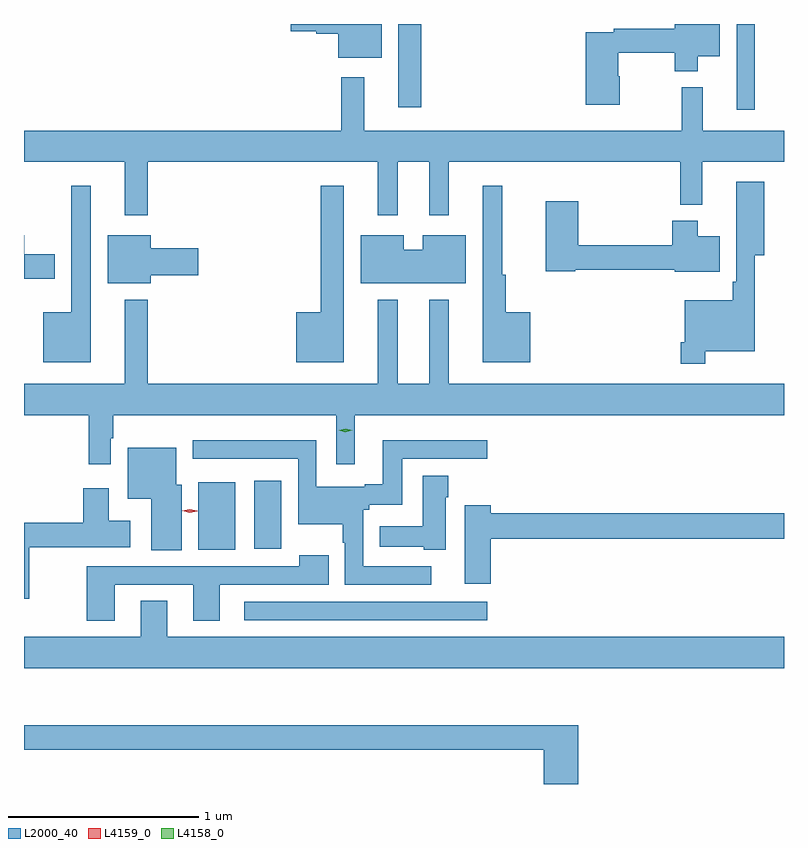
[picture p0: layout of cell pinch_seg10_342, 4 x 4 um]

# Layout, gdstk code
import gdstk
lib = gdstk.Library(unit=1e-6, precision=1e-09)
def R(c, l, rs):  # rectangles x0, y0, x1, y1
    for r in rs: c.add(gdstk.rectangle(r[:2], r[2:], *l))
def P(c, l, *ps):  # polygons
    for p in ps: c.add(gdstk.Polygon(p, *l))
L2000_40 = (2000, 40)
L4158_0 = (4158, 0)
L4159_0 = (4159, 0)

pinch_seg10_342 = lib.new_cell('pinch_seg10_342')
R(pinch_seg10_342, L2000_40, [(449.247,1251.285,450.526,1251.381), (449.006,1251.656,449.2,1252.009), (449.3,1251.66,449.443,1252.018), (451.839,1253.97,451.936,1254.422), (450.059,1253.985,450.181,1254.422)])
P(pinch_seg10_342, L2000_40, [(449.971,1254.422),(449.492,1254.422),(449.492,1254.383),(449.628,1254.383),(449.628,1254.371),(449.744,1254.371),(449.744,1254.245),(449.971,1254.245)],
  [(451.224,1254.147),(451.216,1254.147),(451.216,1254.27),(451.514,1254.27),(451.514,1254.173),(451.636,1254.173),(451.636,1254.251),(451.75,1254.251),(451.75,1254.422),(451.514,1254.422),(451.514,1254.398),(451.192,1254.398),(451.192,1254.378),(451.046,1254.378),(451.046,1253.997),(451.224,1253.997)],
  [(448.741,1253.696),(449.951,1253.696),(449.951,1253.415),(450.055,1253.415),(450.055,1253.696),(450.221,1253.696),(450.221,1253.415),(450.325,1253.415),(450.325,1253.696),(451.543,1253.696),(451.543,1253.471),(451.66,1253.471),(451.66,1253.696),(452.089,1253.696),(452.089,1253.86),(451.661,1253.86),(451.661,1254.088),(451.551,1254.088),(451.551,1253.86),(449.881,1253.86),(449.881,1254.142),(449.76,1254.142),(449.76,1253.86),(448.089,1253.86),(448.089,1253.696),(448.619,1253.696),(448.619,1253.415),(448.741,1253.415)],
  [(451.675,1252.7),(451.936,1252.7),(451.936,1253.204),(451.984,1253.204),(451.984,1253.593),(451.838,1253.593),(451.838,1253.065),(451.819,1253.065),(451.819,1252.969),(451.566,1252.969),(451.566,1252.747),(451.546,1252.747),(451.546,1252.635),(451.675,1252.635)],
  [(450.754,1252.906),(450.625,1252.906),(450.625,1253.102),(450.607,1253.102),(450.607,1253.572),(450.503,1253.572),(450.503,1252.643),(450.754,1252.643)],
  [(448.441,1253.572),(448.337,1253.572),(448.337,1252.906),(448.19,1252.906),(448.19,1252.643),(448.441,1252.643)],
  [(449.773,1253.572),(449.652,1253.572),(449.652,1252.906),(449.522,1252.906),(449.522,1252.643),(449.773,1252.643)],
  [(451.75,1253.305),(451.636,1253.305),(451.636,1253.386),(451.502,1253.386),(451.502,1253.257),(451.007,1253.257),(451.007,1253.488),(450.836,1253.488),(450.836,1253.12),(450.99,1253.12),(450.99,1253.128),(451.514,1253.128),(451.514,1253.117),(451.75,1253.117)],
  [(448.756,1253.099),(449.005,1253.099),(449.005,1253.241),(448.756,1253.241),(448.756,1253.311),(448.529,1253.311),(448.529,1253.057),(448.756,1253.057)],
  [(450.415,1253.311),(450.188,1253.311),(450.188,1253.233),(450.088,1253.233),(450.088,1253.311),(449.861,1253.311),(449.861,1253.057),(450.415,1253.057)],
  [(448.252,1253.211),(448.09,1253.211),(448.09,1253.311),(448.089,1253.311),(448.089,1253.081),(448.252,1253.081)],
  [(448.089,1252.364),(448.429,1252.364),(448.429,1252.104),(448.545,1252.104),(448.545,1252.242),(448.558,1252.242),(448.558,1252.364),(449.733,1252.364),(449.733,1252.104),(449.83,1252.104),(449.83,1252.364),(452.089,1252.364),(452.089,1252.528),(450.325,1252.528),(450.325,1252.972),(450.221,1252.972),(450.221,1252.528),(450.055,1252.528),(450.055,1252.972),(449.951,1252.972),(449.951,1252.528),(448.741,1252.528),(448.741,1252.972),(448.619,1252.972),(448.619,1252.528),(448.089,1252.528)],
  [(450.232,1251.567),(449.874,1251.567),(449.874,1251.866),(449.907,1251.866),(449.907,1251.891),(450.079,1251.891),(450.079,1252.134),(450.526,1252.134),(450.526,1252.231),(449.978,1252.231),(449.978,1252),(449.882,1252),(449.882,1251.987),(449.628,1251.987),(449.628,1252.231),(448.976,1252.231),(448.976,1252.134),(449.532,1252.134),(449.532,1251.788),(449.766,1251.788),(449.766,1251.692),(449.778,1251.692),(449.778,1251.471),(450.232,1251.471)],
  [(448.918,1251.996),(448.891,1251.996),(448.891,1252.192),(448.634,1252.192),(448.634,1251.923),(448.76,1251.923),(448.76,1251.652),(448.918,1251.652)],
  [(450.31,1251.932),(450.323,1251.932),(450.323,1252.045),(450.188,1252.045),(450.188,1251.778),(449.961,1251.778),(449.961,1251.671),(450.192,1251.671),(450.192,1251.656),(450.31,1251.656)],
  [(448.116,1251.669),(448.316,1251.669),(448.316,1251.668),(448.648,1251.668),(448.648,1251.808),(448.534,1251.808),(448.534,1251.979),(448.4,1251.979),(448.4,1251.797),(448.089,1251.797),(448.089,1251.396),(448.116,1251.396)],
  [(450.545,1251.712),(452.089,1251.712),(452.089,1251.848),(450.545,1251.848),(450.545,1251.889),(450.41,1251.889),(450.41,1251.477),(450.545,1251.477)],
  [(448.567,1251.471),(448.979,1251.471),(448.979,1251.282),(449.119,1251.282),(449.119,1251.471),(449.693,1251.471),(449.693,1251.625),(449.537,1251.625),(449.537,1251.567),(448.42,1251.567),(448.42,1251.282),(448.567,1251.282)],
  [(452.089,1251.196),(448.843,1251.196),(448.843,1251.386),(448.703,1251.386),(448.703,1251.196),(448.089,1251.196),(448.089,1251.032),(452.089,1251.032)],
  [(451.007,1250.731),(448.089,1250.731),(448.089,1250.602),(450.824,1250.602),(450.824,1250.422),(451.007,1250.422)])
P(pinch_seg10_342, L4158_0, [(449.781,1252.273),(449.746,1252.284),(449.746,1252.284),(449.746,1252.284),(449.782,1252.293),(449.817,1252.283),(449.817,1252.283),(449.817,1252.283)])
P(pinch_seg10_342, L4159_0, [(448.962,1251.849),(448.923,1251.859),(448.923,1251.86),(448.923,1251.86),(448.962,1251.869),(449.001,1251.859),(449.002,1251.859),(449.001,1251.858)])

lib.write_gds('pinch_seg10_342.gds')
